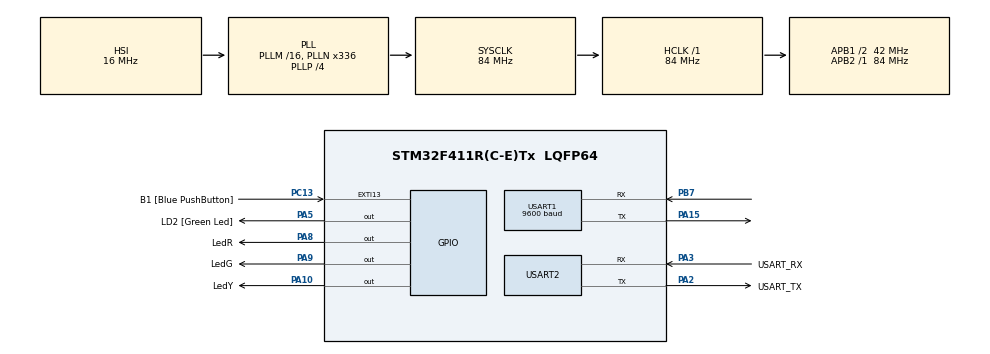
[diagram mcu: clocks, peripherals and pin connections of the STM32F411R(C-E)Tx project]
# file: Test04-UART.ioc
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Dma.Request0=USART2_RX
Dma.USART2_RX.0.Direction=DMA_PERIPH_TO_MEMORY
Dma.USART2_RX.0.FIFOMode=DMA_FIFOMODE_DISABLE
Dma.USART2_RX.0.Instance=DMA1_Stream5
Dma.USART2_RX.0.MemDataAlignment=DMA_MDATAALIGN_BYTE
Dma.USART2_RX.0.MemInc=DMA_MINC_ENABLE
Dma.USART2_RX.0.Mode=DMA_CIRCULAR
Dma.USART2_RX.0.PeriphDataAlignment=DMA_PDATAALIGN_BYTE
Dma.USART2_RX.0.PeriphInc=DMA_PINC_DISABLE
Dma.USART2_RX.0.Priority=DMA_PRIORITY_LOW
Mcu.Family=STM32F4
Mcu.Name=STM32F411R(C-E)Tx
Mcu.Package=LQFP64
NVIC.DMA1_Stream5_IRQn=true\:0\:0\:false\:false\:true\:false\:true\:true
NVIC.EXTI15_10_IRQn=true\:0\:0\:false\:false\:true\:true\:true\:true
NVIC.PriorityGroup=NVIC_PRIORITYGROUP_0
NVIC.TIM3_IRQn=true\:0\:0\:false\:false\:true\:true\:true\:true
NVIC.USART1_IRQn=true\:0\:0\:false\:false\:true\:true\:true\:true
NVIC.USART2_IRQn=true\:0\:0\:false\:false\:true\:true\:true\:true
PA10.GPIO_Label=LedY
PA10.Signal=GPIO_Output
PA13.GPIO_Label=TMS
PA13.Mode=Serial_Wire
PA13.Signal=SYS_JTMS-SWDIO
PA14.GPIO_Label=TCK
PA14.Mode=Serial_Wire
PA14.Signal=SYS_JTCK-SWCLK
PA15.Mode=Asynchronous
PA15.Signal=USART1_TX
PA2.GPIO_Label=USART_TX
PA2.Mode=Asynchronous
PA2.Signal=USART2_TX
PA3.GPIO_Label=USART_RX
PA3.Mode=Asynchronous
PA3.Signal=USART2_RX
PA5.GPIO_Label=LD2 [Green Led]
PA5.Signal=GPIO_Output
PA8.GPIO_Label=LedR
PA8.Signal=GPIO_Output
PA9.GPIO_Label=LedG
PA9.Signal=GPIO_Output
PB3.GPIO_Label=SWO
PB3.Signal=SYS_JTDO-SWO
PB7.Mode=Asynchronous
PB7.Signal=USART1_RX
PC13-ANTI_TAMP.GPIO_Label=B1 [Blue PushButton]
PC13-ANTI_TAMP.GPIO_ModeDefaultEXTI=GPIO_MODE_IT_FALLING
PC13-ANTI_TAMP.Signal=GPXTI13
PC14-OSC32_IN.Mode=LSE-External-Oscillator
PC14-OSC32_IN.Signal=RCC_OSC32_IN
PC15-OSC32_OUT.Mode=LSE-External-Oscillator
PC15-OSC32_OUT.Signal=RCC_OSC32_OUT
PH0\ -\ OSC_IN.Mode=HSE-External-Clock-Source
PH0\ -\ OSC_IN.Signal=RCC_OSC_IN
PH1\ -\ OSC_OUT.Mode=HSE-External-Clock-Source
PH1\ -\ OSC_OUT.Signal=RCC_OSC_OUT
ProjectManager.HeapSize=0x200
ProjectManager.StackSize=0x400
ProjectManager.TargetToolchain=STM32CubeIDE
RCC.48MHZClocksFreq_Value=84000000
RCC.AHBFreq_Value=84000000
RCC.APB1CLKDivider=RCC_HCLK_DIV2
RCC.APB1Freq_Value=42000000
RCC.APB1TimFreq_Value=84000000
RCC.APB2Freq_Value=84000000
RCC.APB2TimFreq_Value=84000000
RCC.CortexFreq_Value=84000000
RCC.FLatency-AdvancedSettings=FLASH_LATENCY_2
RCC.HCLKFreq_Value=84000000
RCC.HSE_VALUE=8000000
RCC.HSI_VALUE=16000000
RCC.PLLN=336
RCC.PLLP=RCC_PLLP_DIV4
RCC.SYSCLKFreq_VALUE=84000000
RCC.SYSCLKSource=RCC_SYSCLKSOURCE_PLLCLK
RCC.VCOOutputFreq_Value=336000000
TIM3.Period=10000-1
TIM3.Prescaler=8400-1
USART1.BaudRate=9600
USART1.VirtualMode=VM_ASYNC
USART2.VirtualMode=VM_ASYNC
VP_TIM3_VS_ClockSourceINT.Mode=Internal
board=NUCLEO-F411RE

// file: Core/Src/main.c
/* USER CODE BEGIN Header */
/**
  ******************************************************************************
  * @file           : main.c
  * @brief          : Main program body
  ******************************************************************************
  * @attention
  * 깃허브 업로드 테스트용
  * Copyright (c) 2023 STMicroelectronics.
  * All rights reserved.
  *
  * This software is licensed under terms that can be found in the LICENSE file
  * in the root directory of this software component.
  * If no LICENSE file comes with this software, it is provided AS-IS.
  *
  ******************************************************************************
  */
/* USER CODE END Header */
#include "main.h"

/* USER CODE BEGIN PD */
#define RX_BUF_SIZE 40
/* USER CODE END PD */

TIM_HandleTypeDef htim3;

UART_HandleTypeDef huart1;
UART_HandleTypeDef huart2;
DMA_HandleTypeDef hdma_usart2_rx;

void SystemClock_Config(void);
static void MX_GPIO_Init(void);
static void MX_DMA_Init(void);
static void MX_USART2_UART_Init(void);
static void MX_USART1_UART_Init(void);
static void MX_TIM3_Init(void);

/* USER CODE BEGIN 0 */
int __io_putchar(int ch)
{
	HAL_UART_Transmit(&huart2, &ch, 1, 10);
	return ch;
}
int __io_getchar(void)                                     //for console input
{
	int ch = 0;
	//while(HAL_UART_Receive(&huart2, &ch, 1, 10) != HAL_OK); //same as next while bracket
	while(1)
	{
		HAL_StatusTypeDef r = HAL_UART_Receive(&huart2, &ch, 1, 10);
		if(r == HAL_OK) break;
	}
	HAL_UART_Transmit(&huart2, &ch, 1, 10);
	return ch;
}
int scanfEx1(int *k)
{
	unsigned char buf[10], c;
	int idx = 0;
	//while(__io_getchar() != '0x0d') buf[idx++] = c; //same as next while bracket
	while(1)
	{
		c = __io_getchar();
		if(c == 0x0d) break;
		if(c < '0' || c > '9') break;
		if(idx > 9) break;
		buf[idx++] = c;
	}
	buf[idx] = 0;
	*k = atoi(buf);
	return 1;
}
int GetKey()  // Interface function
{
	return __io_getchar();
}
char rxBuf1[RX_BUF_SIZE], rx; //UART1
char rxBuf2[RX_BUF_SIZE]; //UART2
char dmaBuf[RX_BUF_SIZE];
int head = 0, tail = 0;
int rxIdx1 = 0, rxIdx2 = 0;
int op = -1; // 0 ~ 3 : NULL, R, CRLF, LFCR
char *EL[] = {"\0", "\r", "/r/n", "\n\r"};
/* USER CODE BEGIN 2 */
char * GetDmaData()  //uart2
{
	int len = 0;
	tail = RX_BUF_SIZE - huart2.hdmarx->Instance->NDTR;

	if(head == tail) return 0;
	else if(tail > head)
	{
		memcpy(dmaBuf, rxBuf2 + head, tail - head);
		len = tail - head;
	}
	else // tail < head
	{
		memcpy(dmaBuf, rxBuf2 + head, RX_BUF_SIZE - head);
		memcpy(dmaBuf + RX_BUF_SIZE - head, rxBuf2, tail);
		len = RX_BUF_SIZE - head + tail;
	}
	dmaBuf[len] = 0;
	head=tail;
	return dmaBuf;
}
void HAL_UART_RxCpltCallback(UART_HandleTypeDef *huart) //single usage only
{
	if (huart == &huart1)
	{
		rxBuf1[rxIdx1++] = rx;
		if(rx == '\0' || rx =='r' || rx =='\n')
		{
			HAL_UART_Transmit(&huart2, &rxBuf1, rxIdx1, 10);
			HAL_UART_Transmit(&huart, "\r\n", 2, 10); //putty dixplay out
			rxIdx1 = 0;
		}
	}
	else if (huart == &huart2)
	{

		rxBuf2[rxIdx2++] = rx;
		if(rx == '\0' || rx =='r' || rx =='\n')
		{
			if(strcmp(rxBuf2, "BT>", 3) == 0)
			{
				HAL_UART_Transmit(&huart1, &rxBuf2 + 3, rxIdx2 - 4, 10);
				HAL_UART_Transmit(&huart1, EL[op], strlen(EL[op]), 10);
				HAL_UART_Transmit(&huart2, &rxBuf2 + 3, rxIdx2 - 4, 10);
				HAL_UART_Transmit(&huart2, "\r\n", 2, 10);
			}
			else
			{
				HAL_UART_Transmit(&huart2, &rxBuf2, rxIdx2, 10);
				HAL_UART_Transmit(&huart2, "\r\n", 2, 10);
			}
			rxIdx2 = 0;
		}
	}
	HAL_UART_Receive_IT(huart, &rx, 1);
}
void HAL_TIM_PeriodElapsedCallback(TIM_HandleTypeDef *htim)
{
	char *str = GetDmaData(); //str = NULL, if no data
	if(str)
	{
		printf("%s\r\n", str);
	}
}
void HAL_GPIO_EXTI_Callback(uint16_t GPIO_Pin)
{
	if(GPIO_Pin == B1_Pin)
	{
	  char *str = GetDmaData(); //str = NULL, if no data
	  if(str)
	  {
		  printf("[Received Buffer] %s\r\n", rxBuf2);
	  	  printf("[Received String] %s\r\n\n", str);
	  }
	}
}

void LED_CONTROL()
{
	 int k = GetKey();
	 switch(k)
	 {
		  case 'r':
		  case 'R':
			  HAL_GPIO_WritePin(LedR_GPIO_Port, LedR_Pin, 1); HAL_Delay(200);
			  HAL_GPIO_WritePin(LedR_GPIO_Port, LedR_Pin, 0); HAL_Delay(200);
			  break;
		  case 'g':
		  case 'G':
		  	  HAL_GPIO_WritePin(LedG_GPIO_Port, LedG_Pin, 1); HAL_Delay(200);
		  	  HAL_GPIO_WritePin(LedG_GPIO_Port, LedG_Pin, 0); HAL_Delay(200);
		  	  break;
		  case 'y':
		  case 'Y':
		  	  HAL_GPIO_WritePin(LedY_GPIO_Port, LedY_Pin, 1); HAL_Delay(200);
		  	  HAL_GPIO_WritePin(LedY_GPIO_Port, LedY_Pin, 0); HAL_Delay(200);
		  	  break;
		  default:
			  break;
	 }
}
/* USER CODE END 0 */

int main(void)
{

  /* MCU Configuration--------------------------------------------------------*/

  /* Reset of all peripherals, Initializes the Flash interface and the Systick. */
  HAL_Init();

  /* Configure the system clock */
  SystemClock_Config();

  /* Initialize all configured peripherals */
  MX_GPIO_Init();
  MX_DMA_Init();
  MX_USART2_UART_Init();
  MX_USART1_UART_Init();
  MX_TIM3_Init();
  /* USER CODE BEGIN 2 */
  printf("\033[1J\033[1;1HUART Program Started\r\n");
    while(1)
    {
  	  printf("Input End-Line Option\r\n");
  	  printf("'0' : NULL\r\n");
  	  printf("'1' : CR\r\n");
  	  printf("'2' : CRLF\r\n");
  	  printf("'3' : LFCR\r\n");
  	  scanfEx1(&op);
  	  if(op >= 0 && op <4) break;
    }
    printf("OK %d\r\n", op);

    //HAL_UART_Receive_IT(&huart2, &rx, 1);   //UART available only
    HAL_UART_Receive_IT(&huart1, &rx, 1);
    HAL_UART_Receive_IT(&huart2, &rx, 1);

  /* USER CODE END 2 */

  /* Infinite loop */
  while (1)
  {

    /* USER CODE BEGIN 3 */
	//LED_CONTROL(); // LED Toggle
	/*  if(rxIdx)
	  {
		  rxBuf[rxIdx] = 0;
		  printf("[Received String] %s\r\n", rxBuf);
		  rxIdx = 0;
	  } */

  }
  /* USER CODE END 3 */
}

void SystemClock_Config(void)
{
  RCC_OscInitTypeDef RCC_OscInitStruct = {0};
  RCC_ClkInitTypeDef RCC_ClkInitStruct = {0};

  /** Configure the main internal regulator output voltage
  */
  __HAL_RCC_PWR_CLK_ENABLE();
  __HAL_PWR_VOLTAGESCALING_CONFIG(PWR_REGULATOR_VOLTAGE_SCALE1);

  /** Initializes the RCC Oscillators according to the specified parameters
  * in the RCC_OscInitTypeDef structure.
  */
  RCC_OscInitStruct.OscillatorType = RCC_OSCILLATORTYPE_HSI;
  RCC_OscInitStruct.HSIState = RCC_HSI_ON;
  RCC_OscInitStruct.HSICalibrationValue = RCC_HSICALIBRATION_DEFAULT;
  RCC_OscInitStruct.PLL.PLLState = RCC_PLL_ON;
  RCC_OscInitStruct.PLL.PLLSource = RCC_PLLSOURCE_HSI;
  RCC_OscInitStruct.PLL.PLLM = 16;
  RCC_OscInitStruct.PLL.PLLN = 336;
  RCC_OscInitStruct.PLL.PLLP = RCC_PLLP_DIV4;
  RCC_OscInitStruct.PLL.PLLQ = 4;
  if (HAL_RCC_OscConfig(&RCC_OscInitStruct) != HAL_OK)
  {
    Error_Handler();
  }

  /** Initializes the CPU, AHB and APB buses clocks
  */
  RCC_ClkInitStruct.ClockType = RCC_CLOCKTYPE_HCLK|RCC_CLOCKTYPE_SYSCLK
                              |RCC_CLOCKTYPE_PCLK1|RCC_CLOCKTYPE_PCLK2;
  RCC_ClkInitStruct.SYSCLKSource = RCC_SYSCLKSOURCE_PLLCLK;
  RCC_ClkInitStruct.AHBCLKDivider = RCC_SYSCLK_DIV1;
  RCC_ClkInitStruct.APB1CLKDivider = RCC_HCLK_DIV2;
  RCC_ClkInitStruct.APB2CLKDivider = RCC_HCLK_DIV1;

  if (HAL_RCC_ClockConfig(&RCC_ClkInitStruct, FLASH_LATENCY_2) != HAL_OK)
  {
    Error_Handler();
  }
}

static void MX_TIM3_Init(void)
{

  TIM_ClockConfigTypeDef sClockSourceConfig = {0};
  TIM_MasterConfigTypeDef sMasterConfig = {0};

  htim3.Instance = TIM3;
  htim3.Init.Prescaler = 8400-1;
  htim3.Init.CounterMode = TIM_COUNTERMODE_UP;
  htim3.Init.Period = 10000-1;
  htim3.Init.ClockDivision = TIM_CLOCKDIVISION_DIV1;
  htim3.Init.AutoReloadPreload = TIM_AUTORELOAD_PRELOAD_DISABLE;
  if (HAL_TIM_Base_Init(&htim3) != HAL_OK)
  {
    Error_Handler();
  }
  sClockSourceConfig.ClockSource = TIM_CLOCKSOURCE_INTERNAL;
  if (HAL_TIM_ConfigClockSource(&htim3, &sClockSourceConfig) != HAL_OK)
  {
    Error_Handler();
  }
  sMasterConfig.MasterOutputTrigger = TIM_TRGO_RESET;
  sMasterConfig.MasterSlaveMode = TIM_MASTERSLAVEMODE_DISABLE;
  if (HAL_TIMEx_MasterConfigSynchronization(&htim3, &sMasterConfig) != HAL_OK)
  {
    Error_Handler();
  }

}

static void MX_USART1_UART_Init(void)
{

  huart1.Instance = USART1;
  huart1.Init.BaudRate = 9600;
  huart1.Init.WordLength = UART_WORDLENGTH_8B;
  huart1.Init.StopBits = UART_STOPBITS_1;
  huart1.Init.Parity = UART_PARITY_NONE;
  huart1.Init.Mode = UART_MODE_TX_RX;
  huart1.Init.HwFlowCtl = UART_HWCONTROL_NONE;
  huart1.Init.OverSampling = UART_OVERSAMPLING_16;
  if (HAL_UART_Init(&huart1) != HAL_OK)
  {
    Error_Handler();
  }

}

static void MX_USART2_UART_Init(void)
{

  huart2.Instance = USART2;
  huart2.Init.BaudRate = 115200;
  huart2.Init.WordLength = UART_WORDLENGTH_8B;
  huart2.Init.StopBits = UART_STOPBITS_1;
  huart2.Init.Parity = UART_PARITY_NONE;
  huart2.Init.Mode = UART_MODE_TX_RX;
  huart2.Init.HwFlowCtl = UART_HWCONTROL_NONE;
  huart2.Init.OverSampling = UART_OVERSAMPLING_16;
  if (HAL_UART_Init(&huart2) != HAL_OK)
  {
    Error_Handler();
  }

}

static void MX_DMA_Init(void)
{

  /* DMA controller clock enable */
  __HAL_RCC_DMA1_CLK_ENABLE();

  /* DMA interrupt init */
  /* DMA1_Stream5_IRQn interrupt configuration */
  HAL_NVIC_SetPriority(DMA1_Stream5_IRQn, 0, 0);
  HAL_NVIC_EnableIRQ(DMA1_Stream5_IRQn);

}

static void MX_GPIO_Init(void)
{
  GPIO_InitTypeDef GPIO_InitStruct = {0};

  /* GPIO Ports Clock Enable */
  __HAL_RCC_GPIOC_CLK_ENABLE();
  __HAL_RCC_GPIOH_CLK_ENABLE();
  __HAL_RCC_GPIOA_CLK_ENABLE();
  __HAL_RCC_GPIOB_CLK_ENABLE();

  /*Configure GPIO pin Output Level */
  HAL_GPIO_WritePin(GPIOA, LD2_Pin|LedR_Pin|LedG_Pin|LedY_Pin, GPIO_PIN_RESET);

  /*Configure GPIO pin : B1_Pin */
  GPIO_InitStruct.Pin = B1_Pin;
  GPIO_InitStruct.Mode = GPIO_MODE_IT_FALLING;
  GPIO_InitStruct.Pull = GPIO_NOPULL;
  HAL_GPIO_Init(B1_GPIO_Port, &GPIO_InitStruct);

  /*Configure GPIO pins : LD2_Pin LedR_Pin LedG_Pin LedY_Pin */
  GPIO_InitStruct.Pin = LD2_Pin|LedR_Pin|LedG_Pin|LedY_Pin;
  GPIO_InitStruct.Mode = GPIO_MODE_OUTPUT_PP;
  GPIO_InitStruct.Pull = GPIO_NOPULL;
  GPIO_InitStruct.Speed = GPIO_SPEED_FREQ_LOW;
  HAL_GPIO_Init(GPIOA, &GPIO_InitStruct);

  /* EXTI interrupt init*/
  HAL_NVIC_SetPriority(EXTI15_10_IRQn, 0, 0);
  HAL_NVIC_EnableIRQ(EXTI15_10_IRQn);

}

void Error_Handler(void)
{
  __disable_irq();
  while (1)
  {
  }
}
